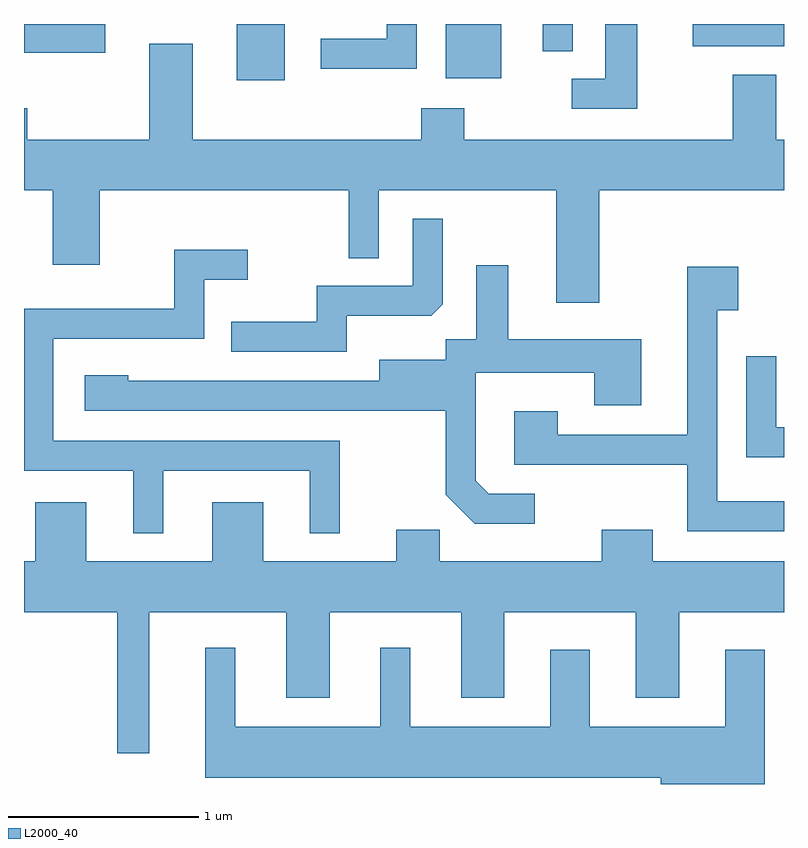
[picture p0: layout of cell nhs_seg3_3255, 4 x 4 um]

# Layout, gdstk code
import gdstk
lib = gdstk.Library(unit=1e-6, precision=1e-09)
def R(c, l, rs):  # rectangles x0, y0, x1, y1
    for r in rs: c.add(gdstk.rectangle(r[:2], r[2:], *l))
def P(c, l, *ps):  # polygons
    for p in ps: c.add(gdstk.Polygon(p, *l))
L2000_40 = (2000, 40)

nhs_seg3_3255 = lib.new_cell('nhs_seg3_3255')
R(nhs_seg3_3255, L2000_40, [(280.731,1237.596,280.984,1237.892), (281.831,1237.606,282.124,1237.892), (279.611,1237.741,280.039,1237.892), (282.341,1237.748,282.499,1237.892), (283.131,1237.776,283.611,1237.892)])
P(nhs_seg3_3255, L2000_40, [(281.679,1237.892),(281.521,1237.892),(281.521,1237.814),(281.173,1237.814),(281.173,1237.656),(281.679,1237.656)],
  [(282.839,1237.892),(282.671,1237.892),(282.671,1237.604),(282.493,1237.604),(282.493,1237.446),(282.839,1237.446)],
  [(282.639,1237.016),(283.611,1237.016),(283.611,1237.284),(283.569,1237.284),(283.569,1237.624),(283.341,1237.624),(283.341,1237.284),(281.929,1237.284),(281.929,1237.449),(281.701,1237.449),(281.701,1237.284),(280.499,1237.284),(280.499,1237.789),(280.271,1237.789),(280.271,1237.284),(279.629,1237.284),(279.629,1237.449),(279.611,1237.449),(279.611,1237.016),(279.761,1237.016),(279.761,1236.626),(280.009,1236.626),(280.009,1237.016),(281.321,1237.016),(281.321,1236.658),(281.479,1236.658),(281.479,1237.016),(282.411,1237.016),(282.411,1236.426),(282.639,1236.426)],
  [(281.309,1236.356),(281.754,1236.356),(281.814,1236.417),(281.814,1236.868),(281.656,1236.868),(281.656,1236.514),(281.151,1236.514),(281.151,1236.324),(280.703,1236.324),(280.703,1236.166),(281.309,1236.166)],
  [(280.344,1235.541),(281.116,1235.541),(281.116,1235.213),(281.274,1235.213),(281.274,1235.699),(279.764,1235.699),(279.764,1236.236),(280.559,1236.236),(280.559,1236.546),(280.788,1236.546),(280.788,1236.704),(280.401,1236.704),(280.401,1236.394),(279.611,1236.394),(279.611,1235.541),(280.186,1235.541),(280.186,1235.213),(280.344,1235.213)],
  [(282.298,1235.419),(282.057,1235.419),(281.989,1235.487),(281.989,1236.056),(282.611,1236.056),(282.611,1235.886),(282.859,1235.886),(282.859,1236.234),(282.159,1236.234),(282.159,1236.623),(281.991,1236.623),(281.991,1236.234),(281.831,1236.234),(281.831,1236.124),(281.481,1236.124),(281.481,1236.014),(280.159,1236.014),(280.159,1236.044),(279.931,1236.044),(279.931,1235.856),(281.831,1235.856),(281.831,1235.414),(281.984,1235.261),(282.298,1235.261)],
  [(283.611,1235.379),(283.259,1235.379),(283.259,1236.386),(283.369,1236.386),(283.369,1236.614),(283.101,1236.614),(283.101,1235.729),(282.419,1235.729),(282.419,1235.854),(282.191,1235.854),(282.191,1235.571),(283.101,1235.571),(283.101,1235.221),(283.611,1235.221)],
  [(283.611,1235.769),(283.569,1235.769),(283.569,1236.143),(283.411,1236.143),(283.411,1235.611),(283.611,1235.611)],
  [(280.269,1234.796),(280.991,1234.796),(280.991,1234.346),(281.219,1234.346),(281.219,1234.796),(281.911,1234.796),(281.911,1234.346),(282.139,1234.346),(282.139,1234.796),(282.831,1234.796),(282.831,1234.346),(283.059,1234.346),(283.059,1234.796),(283.611,1234.796),(283.611,1235.064),(282.919,1235.064),(282.919,1235.229),(282.651,1235.229),(282.651,1235.064),(281.799,1235.064),(281.799,1235.229),(281.571,1235.229),(281.571,1235.064),(280.869,1235.064),(280.869,1235.374),(280.601,1235.374),(280.601,1235.064),(279.939,1235.064),(279.939,1235.374),(279.671,1235.374),(279.671,1235.064),(279.611,1235.064),(279.611,1234.796),(280.101,1234.796),(280.101,1234.053),(280.269,1234.053)],
  [(283.509,1234.599),(283.301,1234.599),(283.301,1234.194),(282.589,1234.194),(282.589,1234.599),(282.381,1234.599),(282.381,1234.194),(281.644,1234.194),(281.644,1234.608),(281.486,1234.608),(281.486,1234.194),(280.724,1234.194),(280.724,1234.608),(280.566,1234.608),(280.566,1233.926),(282.961,1233.926),(282.961,1233.892),(283.509,1233.892)])

lib.write_gds('nhs_seg3_3255.gds')
